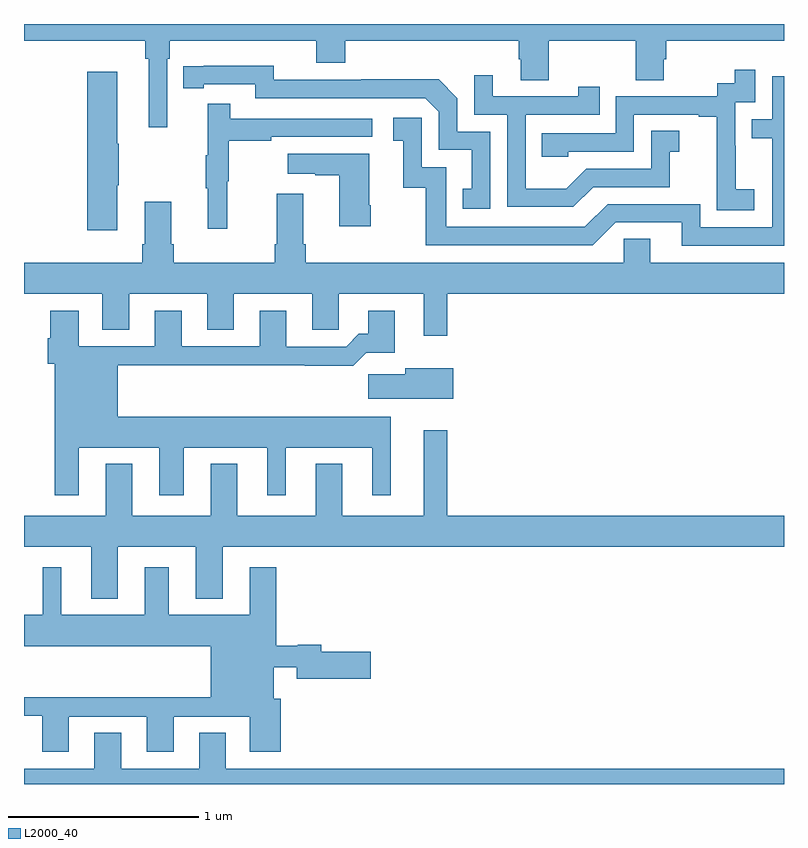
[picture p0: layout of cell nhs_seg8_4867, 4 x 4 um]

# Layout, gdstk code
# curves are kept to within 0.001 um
import gdstk
lib = gdstk.Library(unit=1e-6, precision=1e-09)
def P(c, l, *ps):  # polygons
    for p in ps: c.add(gdstk.Polygon(p, *l))
L2000_40 = (2000, 40)

nhs_seg8_4867 = lib.new_cell('nhs_seg8_4867')
P(nhs_seg8_4867, L2000_40, [(407.603,1137.714),(407.615,1137.714),(407.615,1137.604),(407.763,1137.604),(407.763,1137.812),(408.22,1137.812),(408.22,1137.604),(408.367,1137.604),(408.367,1137.714),(408.38,1137.714),(408.38,1137.812),(409,1137.812),(409,1137.9),(405,1137.9),(405,1137.812),(405.637,1137.812),(405.637,1137.716),(405.656,1137.716),(405.656,1137.357),(405.753,1137.357),(405.753,1137.716),(405.767,1137.716),(405.767,1137.812),(406.538,1137.812),(406.538,1137.695),(406.691,1137.695),(406.691,1137.812),(407.603,1137.812)],
  [(407.454,1137.333),(407.28,1137.333),(407.28,1137.51),(407.182,1137.608),(406.774,1137.608),(406.774,1137.606),(406.314,1137.606),(406.314,1137.679),(405.838,1137.678),(405.838,1137.562),(405.946,1137.562),(405.946,1137.582),(406.218,1137.582),(406.218,1137.51),(407.112,1137.51),(407.184,1137.438),(407.184,1137.237),(407.357,1137.237),(407.357,1137.033),(407.308,1137.033),(407.308,1136.928),(407.454,1136.928)],
  [(408.844,1137.031),(408.746,1137.031),(408.746,1137.26),(408.744,1137.26),(408.744,1137.489),(408.849,1137.489),(408.849,1137.658),(408.741,1137.658),(408.741,1137.588),(408.648,1137.588),(408.648,1137.519),(408.114,1137.519),(408.114,1137.324),(407.725,1137.324),(407.725,1137.201),(407.865,1137.201),(407.865,1137.228),(408.21,1137.228),(408.21,1137.423),(408.551,1137.423),(408.551,1137.411),(408.647,1137.411),(408.647,1137.127),(408.646,1137.127),(408.646,1136.921),(408.844,1136.921)],
  [(405.49,1137.052),(405.498,1137.052),(405.498,1137.269),(405.49,1137.269),(405.49,1137.649),(405.332,1137.649),(405.332,1136.814),(405.49,1136.814)],
  [(407.995,1137.042),(408.399,1137.042),(408.399,1137.227),(408.448,1137.227),(408.448,1137.337),(408.3,1137.337),(408.3,1137.138),(407.958,1137.138),(407.854,1137.034),(407.64,1137.034),(407.64,1137.423),(408.029,1137.423),(408.029,1137.571),(407.918,1137.571),(407.918,1137.519),(407.467,1137.519),(407.467,1137.631),(407.37,1137.631),(407.37,1137.423),(407.544,1137.423),(407.544,1136.937),(407.89,1136.937)],
  [(409,1137.624),(408.939,1137.624),(408.939,1137.399),(408.829,1137.399),(408.829,1137.298),(408.939,1137.298),(408.939,1136.829),(408.558,1136.829),(408.558,1136.952),(408.072,1136.952),(407.952,1136.832),(407.223,1136.832),(407.223,1137.147),(407.094,1137.147),(407.094,1137.406),(406.944,1137.406),(406.944,1137.285),(406.997,1137.285),(406.997,1137.039),(407.115,1137.039),(407.115,1136.736),(407.994,1136.736),(408.114,1136.856),(408.461,1136.856),(408.461,1136.733),(409,1136.733)],
  [(406.07,1137.072),(406.078,1137.072),(406.078,1137.286),(406.301,1137.286),(406.301,1137.306),(406.834,1137.306),(406.834,1137.402),(406.085,1137.402),(406.085,1137.481),(405.968,1137.481),(405.968,1137.209),(405.957,1137.209),(405.957,1137.035),(405.968,1137.035),(405.968,1136.823),(406.07,1136.823)],
  [(406.824,1136.947),(406.816,1136.947),(406.816,1137.217),(406.389,1137.217),(406.389,1137.113),(406.532,1137.113),(406.532,1137.103),(406.658,1137.103),(406.658,1136.835),(406.824,1136.835)],
  [(407.227,1136.48),(409,1136.48),(409,1136.644),(408.295,1136.644),(408.295,1136.771),(408.156,1136.771),(408.156,1136.644),(406.484,1136.644),(406.484,1136.74),(406.471,1136.74),(406.471,1137.007),(406.331,1137.007),(406.331,1136.74),(406.319,1136.74),(406.319,1136.644),(405.788,1136.644),(405.788,1136.74),(405.775,1136.74),(405.775,1136.965),(405.635,1136.965),(405.635,1136.74),(405.623,1136.74),(405.623,1136.644),(405,1136.644),(405,1136.48),(405.413,1136.48),(405.413,1136.29),(405.553,1136.29),(405.553,1136.48),(405.965,1136.48),(405.965,1136.29),(406.105,1136.29),(406.105,1136.48),(406.517,1136.48),(406.517,1136.29),(406.656,1136.29),(406.656,1136.48),(407.105,1136.48),(407.105,1136.259),(407.227,1136.259)],
  [(405.289,1135.67),(405.713,1135.67),(405.713,1135.419),(405.841,1135.419),(405.841,1135.67),(406.28,1135.67),(406.28,1135.419),(406.378,1135.419),(406.378,1135.67),(406.832,1135.67),(406.832,1135.419),(406.93,1135.419),(406.93,1135.834),(405.493,1135.834),(405.493,1136.104),(406.477,1136.104),(406.477,1136.102),(406.733,1136.102),(406.802,1136.171),(406.951,1136.171),(406.951,1136.392),(406.811,1136.392),(406.811,1136.269),(406.762,1136.269),(406.695,1136.202),(406.381,1136.202),(406.381,1136.392),(406.241,1136.392),(406.241,1136.205),(405.829,1136.205),(405.829,1136.392),(405.689,1136.392),(405.689,1136.205),(405.289,1136.205),(405.289,1136.392),(405.137,1136.392),(405.137,1136.246),(405.125,1136.246),(405.125,1136.112),(405.161,1136.112),(405.161,1135.419),(405.289,1135.419)],
  [(407.26,1136.089),(407.006,1136.089),(407.006,1136.057),(406.812,1136.057),(406.812,1135.928),(407.26,1135.928)],
  [(409,1135.312),(407.227,1135.312),(407.227,1135.762),(407.105,1135.762),(407.105,1135.312),(406.675,1135.312),(406.675,1135.585),(406.535,1135.585),(406.535,1135.312),(406.123,1135.312),(406.123,1135.585),(405.983,1135.585),(405.983,1135.312),(405.571,1135.312),(405.571,1135.585),(405.431,1135.585),(405.431,1135.312),(405,1135.312),(405,1135.148),(405.353,1135.148),(405.353,1134.875),(405.493,1134.875),(405.493,1135.148),(405.905,1135.148),(405.905,1134.875),(406.045,1134.875),(406.045,1135.148),(409,1135.148)],
  [(405.235,1134.255),(405.647,1134.255),(405.647,1134.069),(405.787,1134.069),(405.787,1134.255),(406.187,1134.255),(406.187,1134.069),(406.352,1134.069),(406.352,1134.348),(406.315,1134.348),(406.315,1134.515),(406.436,1134.515),(406.436,1134.454),(406.825,1134.454),(406.825,1134.596),(406.564,1134.596),(406.564,1134.632),(406.44,1134.632),(406.44,1134.628),(406.328,1134.628),(406.328,1135.042),(406.187,1135.042),(406.187,1134.79),(405.763,1134.79),(405.763,1135.042),(405.635,1135.042),(405.635,1134.79),(405.196,1134.79),(405.196,1135.042),(405.098,1135.042),(405.098,1134.79),(405,1134.79),(405,1134.626),(405.983,1134.626),(405.983,1134.356),(405,1134.356),(405,1134.258),(405.095,1134.258),(405.095,1134.069),(405.235,1134.069)],
  [(409,1133.98),(406.063,1133.98),(406.063,1134.17),(405.923,1134.17),(405.923,1133.98),(405.511,1133.98),(405.511,1134.17),(405.371,1134.17),(405.371,1133.98),(405,1133.98),(405,1133.9),(409,1133.9)])

lib.write_gds('nhs_seg8_4867.gds')
